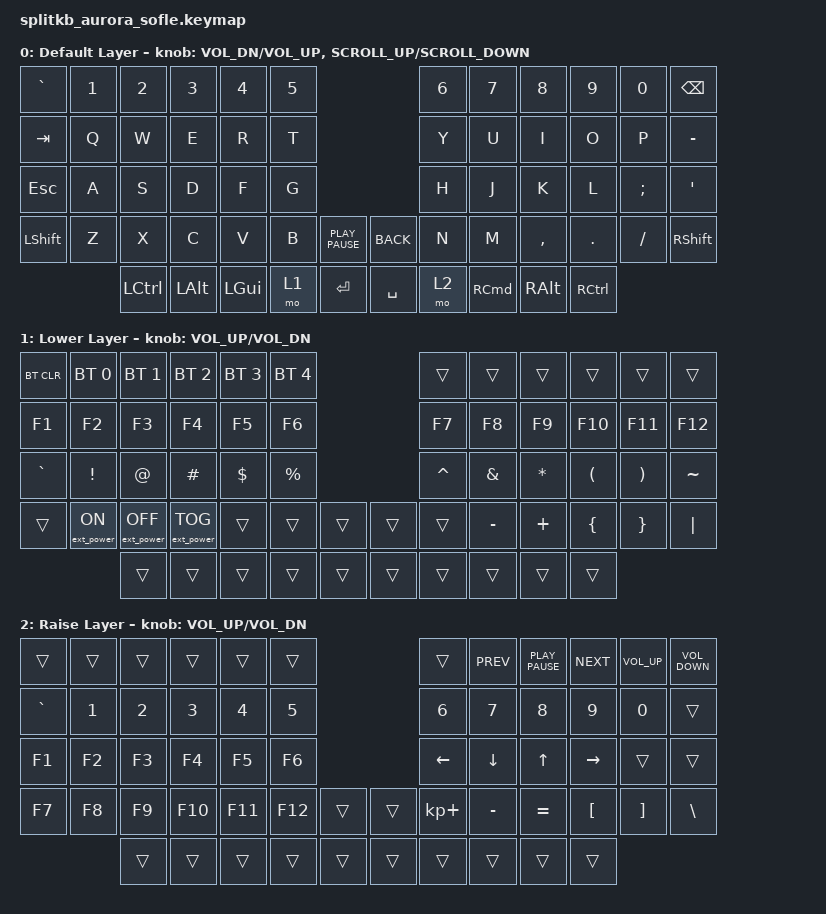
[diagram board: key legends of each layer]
/*
 * Copyright (c) 2023 The ZMK Contributors
 *
 * SPDX-License-Identifier: MIT
 */

#include <behaviors.dtsi>
#include <dt-bindings/zmk/bt.h>
#include <dt-bindings/zmk/ext_power.h>
#include <dt-bindings/zmk/keys.h>

/* Uncomment this block if using RGB
&led_strip {
    chain-length = <6>;
    // chain-length = <35>; // Uncomment if using both per-key and underglow LEDs
    // chain-length = <29>; // Uncomment if using only per-key LEDs.
};
 */

/ {
    keymap {
        compatible = "zmk,keymap";

        default_layer {
            display-name = "Default Layer";

            // ------------------------------------------------------------------------------------------------------------
            // |  ESC  |  1  |  2  |  3   |  4   |  5   |                   |  6   |  7    |  8    |  9   |   0   |   `   |
            // |  TAB  |  Q  |  W  |  E   |  R   |  T   |                   |  Y   |  U    |  I    |  O   |   P   |   -   |
            // |  CTRL |  A  |  S  |  D   |  F   |  G   |                   |  H   |  J    |  K    |  L   |   ;   |   '   |
            // | SHIFT |  Z  |  X  |  C   |  V   |  B   |   "["  |  |  "]"  |  N   |  M    |  ,    |  .   |   /   | SHIFT |
            //               |CTRL | ALT  | GUI  | LOWER|  SPACE |  | ENTER | RAISE| BSPC  | GUI   | RALT |

            bindings = <
&kp GRAVE   &kp N1  &kp N2     &kp N3    &kp N4    &kp N5                                  &kp N6  &kp N7             &kp N8         &kp N9             &kp N0    &kp BACKSPACE
&kp TAB     &kp Q   &kp W      &kp E     &kp R     &kp T                                   &kp Y   &kp U              &kp I          &kp O              &kp P     &kp MINUS
&kp ESCAPE  &kp A   &kp S      &kp D     &kp F     &kp G                                   &kp H   &kp J              &kp K          &kp L              &kp SEMI  &kp SQT
&kp LSHFT   &kp Z   &kp X      &kp C     &kp V     &kp B   &kp K_PLAY_PAUSE    &kp K_BACK  &kp N   &kp M              &kp COMMA      &kp DOT            &kp FSLH  &kp RSHFT
                    &kp LCTRL  &kp LALT  &kp LGUI  &mo 1   &kp RET             &kp SPACE   &mo 2   &kp RIGHT_COMMAND  &kp RIGHT_ALT  &kp RIGHT_CONTROL
            >;

            sensor-bindings =
                <&inc_dec_kp C_VOL_DN C_VOL_UP>,
                <&inc_dec_kp K_SCROLL_UP K_SCROLL_DOWN>;
        };

        lower_layer {
            display-name = "Lower Layer";

            // ------------------------------------------------------------------------------------------------------------
            // | BTCLR | BT1 | BT2 |  BT3 |  BT4 |  BT5 |                   |      |       |       |      |       |       |
            // |  F1   |  F2 |  F3 |  F4  |  F5  |  F6  |                   |  F7  |  F8   |  F9   |  F10 |  F11  |  F12  |
            // |   `   |  !  |  @  |  #   |  $   |  %   |                   |  ^   |  &    |  *    |  (   |   )   |   ~   |
            // |       |     |     |      |      |      |        |  |       |      |  _    |  +    |  {   |   }   |  "|"  |
            //               |     |      |      |      |        |  |       |      |       |       |      |

            bindings = <
&bt BT_CLR  &bt BT_SEL 0      &bt BT_SEL 1       &bt BT_SEL 2       &bt BT_SEL 3  &bt BT_SEL 4                    &trans     &trans     &trans    &trans    &trans    &trans
&kp F1      &kp F2            &kp F3             &kp F4             &kp F5        &kp F6                          &kp F7     &kp F8     &kp F9    &kp F10   &kp F11   &kp F12
&kp GRAVE   &kp EXCL          &kp AT             &kp HASH           &kp DOLLAR    &kp PRCNT                       &kp CARET  &kp AMPS   &kp STAR  &kp LPAR  &kp RPAR  &kp TILDE
&trans      &ext_power EP_ON  &ext_power EP_OFF  &ext_power EP_TOG  &trans        &trans        &trans    &trans  &trans     &kp MINUS  &kp PLUS  &kp LBRC  &kp RBRC  &kp PIPE
                              &trans             &trans             &trans        &trans        &trans    &trans  &trans     &trans     &trans    &trans
            >;

            sensor-bindings = <&inc_dec_kp C_VOL_UP C_VOL_DN>;
        };

        raise_layer {
            display-name = "Raise Layer";

            // ------------------------------------------------------------------------------------------------------------
            // |       |     |     |      |      |      |                   |      |       |       |      |       |       |
            // |   `   |  1  |  2  |  3   |  4   |  5   |                   |  6   |   7   |   8   |  9   |   0   |       |
            // |   F1  |  F2 |  F3 |  F4  |  F5  |  F6  |                   |      |   <-  |   v   |  ^   |  ->   |       |
            // |   F7  |  F8 |  F9 |  F10 |  F11 |  F12 |        |  |       |  +   |   -   |   =   |  [   |   ]   |   \   |
            //               |     |      |      |      |        |  |       |      |       |       |      |

            bindings = <
&trans     &trans  &trans  &trans   &trans   &trans                     &trans          &kp K_PREV      &kp K_PLAY_PAUSE  &kp K_NEXT  &kp K_VOLUME_UP  &kp K_VOLUME_DOWN
&kp GRAVE  &kp N1  &kp N2  &kp N3   &kp N4   &kp N5                     &kp N6          &kp N7          &kp N8            &kp N9      &kp N0           &trans
&kp F1     &kp F2  &kp F3  &kp F4   &kp F5   &kp F6                     &kp LEFT_ARROW  &kp DOWN_ARROW  &kp UP_ARROW      &kp RIGHT   &trans           &trans
&kp F7     &kp F8  &kp F9  &kp F10  &kp F11  &kp F12  &trans    &trans  &kp KP_PLUS     &kp MINUS       &kp EQUAL         &kp LBKT    &kp RBKT         &kp BSLH
                   &trans  &trans   &trans   &trans   &trans    &trans  &trans          &trans          &trans            &trans
            >;

            sensor-bindings = <&inc_dec_kp C_VOL_UP C_VOL_DN>;
        };
    };
};
